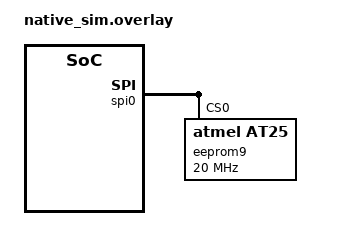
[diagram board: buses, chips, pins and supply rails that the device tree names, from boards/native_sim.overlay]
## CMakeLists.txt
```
#
# Copyright (c) 2026 Axon Enterprise, Inc.
#
# SPDX-License-Identifier: Apache-2.0
#

cmake_minimum_required(VERSION 3.28.0)
find_package(Zephyr REQUIRED HINTS $ENV{ZEPHYR_BASE})
project(eeprom_at2x_9bit_addr)

file(GLOB app_sources src/*.c)
target_sources(app PRIVATE ${app_sources})
```

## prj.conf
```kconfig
CONFIG_ZTEST=y
CONFIG_EEPROM=y
CONFIG_EMUL=y
CONFIG_EEPROM_AT25_EMUL=y
```

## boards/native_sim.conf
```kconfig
CONFIG_EMUL=y
CONFIG_EEPROM_AT25_EMUL=y
```

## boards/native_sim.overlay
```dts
/*
 * Copyright (c) 2026 Axon Enterprise, Inc.
 *
 * SPDX-License-Identifier: Apache-2.0
 */

#include <freq.h>

/ {
	aliases {
		eeprom-9bit = &eeprom9;
	};
};

&spi0 {
	eeprom9: eeprom@0 {
		compatible = "atmel,at25";
		reg = <0x0>;
		size = <512>;
		pagesize = <16>;
		address-width = <9>;
		spi-max-frequency = <DT_FREQ_M(20)>;
		timeout = <5>;
	};
};
```

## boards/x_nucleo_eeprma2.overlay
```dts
/*
 * Copyright (c) 2026 Axon Enterprise, Inc.
 *
 * SPDX-License-Identifier: Apache-2.0
 */

/*
 * U5 on the X-NUCLEO-EEPRMA2 shield is an ST M95040 (AT25-compatible, 512
 * bytes, address-width = 9), the real chip this 9-bit addressing mode was
 * written for.
 */
/ {
	aliases {
		eeprom-9bit = &eeprom4_x_nucleo_eeprma2;
	};
};
```

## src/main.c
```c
/*
 * Copyright (c) 2026 Axon Enterprise, Inc.
 *
 * SPDX-License-Identifier: Apache-2.0
 */

#include <zephyr/device.h>
#include <zephyr/drivers/eeprom.h>
#include <zephyr/ztest.h>

/*
 * The AT25 driver's 9-bit addressing mode addresses a 512 byte EEPROM using
 * only 8 address bits on the wire: the 9th (most significant) bit is instead
 * OR'd into the opcode byte. Offsets below 256 ("low bank") and offsets at or
 * above 256 ("high bank") are therefore only distinguished by that opcode
 * bit, not by the address bytes themselves.
 */
#define EEPROM_NODE       DT_ALIAS(eeprom_9bit)
#define LOW_BANK_SIZE     256
#define HIGH_BANK_OFFSET  LOW_BANK_SIZE

static const struct device *const eeprom = DEVICE_DT_GET(EEPROM_NODE);

static void *eeprom_9bit_addr_setup(void)
{
	zassert_true(device_is_ready(eeprom), "EEPROM device not ready");

	return NULL;
}

ZTEST_SUITE(eeprom_at25_9bit_addr, NULL, eeprom_9bit_addr_setup, NULL, NULL, NULL);

ZTEST(eeprom_at25_9bit_addr, test_size)
{
	zassert_equal(eeprom_get_size(eeprom), 512, "Unexpected EEPROM size");
}

ZTEST(eeprom_at25_9bit_addr, test_low_bank_write_read)
{
	const uint8_t wr_buf[4] = { 0x11, 0x22, 0x33, 0x44 };
	uint8_t rd_buf[sizeof(wr_buf)];

	zassert_ok(eeprom_write(eeprom, 0x10, wr_buf, sizeof(wr_buf)));
	zassert_ok(eeprom_read(eeprom, 0x10, rd_buf, sizeof(rd_buf)));
	zassert_mem_equal(wr_buf, rd_buf, sizeof(wr_buf));
}

ZTEST(eeprom_at25_9bit_addr, test_high_bank_write_read)
{
	const uint8_t wr_buf[4] = { 0x55, 0x66, 0x77, 0x88 };
	uint8_t rd_buf[sizeof(wr_buf)];
	off_t offset = HIGH_BANK_OFFSET + 0x10;

	zassert_ok(eeprom_write(eeprom, offset, wr_buf, sizeof(wr_buf)));
	zassert_ok(eeprom_read(eeprom, offset, rd_buf, sizeof(rd_buf)));
	zassert_mem_equal(wr_buf, rd_buf, sizeof(wr_buf));
}

/*
 * Regression test: if the driver failed to OR the 9th address bit into the
 * opcode (e.g. it only sent offset & 0xFF), a write to the high bank would
 * silently alias onto the same address in the low bank, corrupting it.
 */
ZTEST(eeprom_at25_9bit_addr, test_banks_do_not_alias)
{
	const uint8_t low_pattern[4] = { 0xAA, 0xAA, 0xAA, 0xAA };
	const uint8_t high_pattern[4] = { 0x55, 0x55, 0x55, 0x55 };
	uint8_t rd_buf[4];
	off_t low_offset = 0x20;
	off_t high_offset = HIGH_BANK_OFFSET + 0x20;

	zassert_ok(eeprom_write(eeprom, low_offset, low_pattern, sizeof(low_pattern)));
	zassert_ok(eeprom_write(eeprom, high_offset, high_pattern, sizeof(high_pattern)));

	zassert_ok(eeprom_read(eeprom, low_offset, rd_buf, sizeof(rd_buf)));
	zassert_mem_equal(low_pattern, rd_buf, sizeof(rd_buf),
			  "Write to high bank corrupted low bank data");

	zassert_ok(eeprom_read(eeprom, high_offset, rd_buf, sizeof(rd_buf)));
	zassert_mem_equal(high_pattern, rd_buf, sizeof(rd_buf),
			  "High bank did not retain its own data");
}

ZTEST(eeprom_at25_9bit_addr, test_bank_boundary)
{
	const uint8_t last_low_byte = 0x5A;
	const uint8_t first_high_byte = 0xA5;
	uint8_t rd_value;

	zassert_ok(eeprom_write(eeprom, LOW_BANK_SIZE - 1, &last_low_byte, 1));
	zassert_ok(eeprom_write(eeprom, HIGH_BANK_OFFSET, &first_high_byte, 1));

	zassert_ok(eeprom_read(eeprom, LOW_BANK_SIZE - 1, &rd_value, 1));
	zassert_equal(last_low_byte, rd_value);

	zassert_ok(eeprom_read(eeprom, HIGH_BANK_OFFSET, &rd_value, 1));
	zassert_equal(first_high_byte, rd_value);
}

ZTEST(eeprom_at25_9bit_addr, test_last_byte)
{
	const uint8_t value = 0x5A;
	uint8_t rd_value;
	off_t offset = 511;

	zassert_ok(eeprom_write(eeprom, offset, &value, 1));
	zassert_ok(eeprom_read(eeprom, offset, &rd_value, 1));
	zassert_equal(value, rd_value);
}

ZTEST(eeprom_at25_9bit_addr, test_out_of_bounds)
{
	const uint8_t data = 0x00;
	uint8_t rd_data;
	size_t size = eeprom_get_size(eeprom);

	zassert_equal(-EINVAL, eeprom_write(eeprom, size - 1, &data, 2));
	zassert_equal(-EINVAL, eeprom_read(eeprom, size - 1, &rd_data, 2));
}
```
